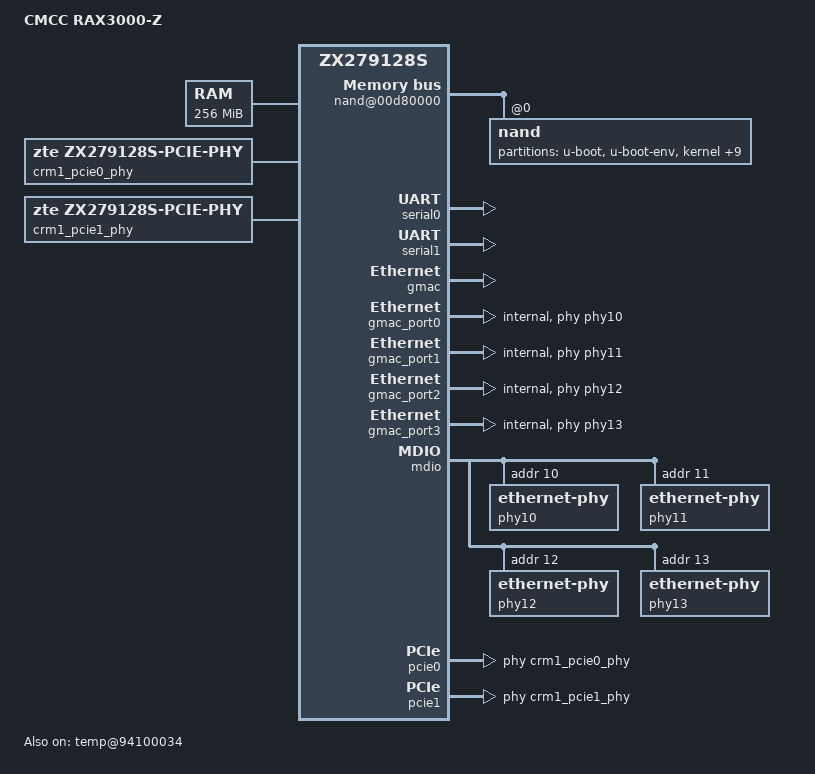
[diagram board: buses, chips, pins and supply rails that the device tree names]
// SPDX-License-Identifier: GPL-2.0-only OR BSD-2-Clause
/*
 * CMCC RAX3000-Z (普通版) on the Sanechips ZX279128R SoC.
 *
 * Derived from the sibling CMCC RAX1800-Z board file (same SoC variant, same
 * external switch/PHY stack, same flash layout) plus a full reverse-engineer
 * of THIS unit's stock firmware (UART root shell + Ghidra of the vendor
 * /kmodule/*.ko).  See re/spec/idm-datapath.md in the RAX3000Z working repo
 * for the datapath register map that corroborates the mainline driver.
 *
 * Confirmed on THIS hardware over the serial root shell (2026-11-20):
 *  - 256 MiB DRAM  (/proc/meminfo MemTotal 236864 kB; stock bootargs mem=256M)
 *  - 128 MiB parallel SLC NAND, Denali controller (stock DT
 *    "denali,denali-nand-dt"); chip is Toshiba TC58BVG0S3 / XT27G01B
 *  - 12 MTD partitions, byte-for-byte the RAX1800-Z offsets (read from
 *    each partition's sysfs offset):
 *      u-boot        0x00000000  parameter-tags 0x04c00000
 *      kernel0       0x00200000  usercfg        0x04e00000
 *      kernel1       0x00700000  others         0x05300000
 *      rootfs0       0x00c00000  wlan           0x05400000
 *      rootfs1       0x02c00000  middleware     0x05700000
 *                                versionbackup  0x05800000
 *  - stock U-Boot "CMCRV5.1.0", boots with `bootm 0x440001e0` (480-byte ZTE
 *    version header, magic 0x99999999, ahead of the uImage)
 *  - WiFi: MT7916AN (PCIe IDs 14c3:7906 main-HIF + 14c3:790a ext-HIF, ONE
 *    chip across both PCIe links), mt7915e driver + mt7916 firmware
 *
 * Differences vs the RAX1800-Z board file this is forked from:
 *  - 256 MiB DRAM (RAX1800-Z has 512 MiB)
 *  - MT7916 instead of MT7915
 *  Everything else (SoC, Denali NAND, sw@92300000 + gephy128s, PCIe, temp
 *  sensor, reboot) is identical ZX279128R silicon and is reused verbatim.
 *
 * STILL A HYPOTHESIS until the first RAM boot (same caveat as RAX1800-Z):
 *  - the four MDIO PHY addresses (10..13) and the port->label mapping.  The
 *    vendor fills uni_phy[] at runtime from the stock DT/scan, so it cannot be
 *    read statically; verify with
 *      ls /sys/bus/mdio_bus/devices ; dmesg | grep -iE 'gmac|phy'; ip link
 *    A board whose wired net is wrong is still reachable over serial + WiFi,
 *    so this does not block the flash path.
 *
 * Slot policy: OpenWrt owns slot A (kernel0 + rootfs0); slot B (kernel1 +
 * rootfs1) stays STOCK and is the rollback path.
 */

/dts-v1/;

#include "zte/zx279128s.dtsi"
#include <dt-bindings/gpio/gpio.h>

/ {
	model = "CMCC RAX3000-Z";
	compatible = "cmcc,rax3000-z", "zte,zx279128r", "zte,zx279128s";

	aliases {
		serial0 = &serial0;
		ethernet0 = &gmac;
	};

	/*
	 * Stock U-Boot passes root=/dev/mtdblock<vendor slot B>.
	 * CONFIG_CMDLINE_FORCE overrides it; ROOTDEV counts partition ROWS in the
	 * fixed-partitions table below: u-boot=0, u-boot-env=1, kernel=2,
	 * rootfs=3 -> /dev/mtdblock3.
	 */
	chosen {
		bootargs = "console=ttyAMA0,115200n8 root=/dev/mtdblock3 rootfstype=squashfs ro rootwait";
	};

	/* THIS unit: 256 MiB.  Stock DT /memory reg = <0x40000000 0x10000000>. */
	memory@40000000 {
		device_type = "memory";
		reg = <0x40000000 0x10000000>;
	};

	/*
	 * Three fixed-clocks for the mainline Denali driver (it calls
	 * devm_clk_get_enabled() for "nand"/"nand_x"/"ecc" and derives timing
	 * from their rates).  denali_setup_data_interface() rejects probe unless
	 * mult_x = clk_x_rate / clk_rate is in [4,6]; 50 MHz core / 200 MHz bus
	 * gives mult_x = 4.  Same values proven on the RAX1800-Z (same Denali
	 * controller); the NAND chip differs but the controller timing does not.
	 */
	nand_clk: nand-clk {
		compatible = "fixed-clock";
		#clock-cells = <0>;
		clock-frequency = <50000000>;
	};

	nand_x_clk: nand-x-clk {
		compatible = "fixed-clock";
		#clock-cells = <0>;
		clock-frequency = <200000000>;
	};

	nand_ecc_clk: nand-ecc-clk {
		compatible = "fixed-clock";
		#clock-cells = <0>;
		clock-frequency = <200000000>;
	};
};

/* The console UART - without this the kernel goes silent at "Starting kernel". */
&serial0 {
	status = "okay";
};

&serial1 {
	status = "okay";
};

/*
 * Parallel NAND via the mainline Denali DT driver.  Register addresses / IRQ /
 * reg-names come from the stock vendor DT (same as RAX1800-Z).  fixed-partitions
 * must live one level deeper, inside a chip node, because denali_dt_chip_init()
 * walks every DIRECT child as a NAND chip.
 */
&{/soc} {
	nand@00d80000 {
		compatible = "denali,denali-nand-dt";
		reg = <0x00d80000 0x07c00000>, <0x00d00000 0x00080000>;
		reg-names = "nand_data", "denali_reg";
		interrupts = <0 20 4>;
		clocks = <&nand_clk>, <&nand_x_clk>, <&nand_ecc_clk>;
		clock-names = "nand", "nand_x", "ecc";
		dma-mask = <0xffffffff>;
		status = "okay";

		#address-cells = <1>;
		#size-cells = <1>;

		nand@0 {
			reg = <0>;
			#address-cells = <1>;
			#size-cells = <1>;

		partitions {
			compatible = "fixed-partitions";
			#address-cells = <1>;
			#size-cells = <1>;

			/* 0x00000000-0x00180000: U-Boot code. NEVER write this. */
			u_boot: partition@0 {
				label = "u-boot";
				reg = <0x00000000 0x00180000>;
				read-only;
			};

			/* 0x00180000-0x001a0000: live U-Boot env (128 KiB, CRC-checked).
			 * Kept writable so fw_setenv can switch the boot slot. */
			u_boot_env: partition@180000 {
				label = "u-boot-env";
				reg = <0x00180000 0x00020000>;
			};

			/* ---- slot A: OpenWrt ---- */
			partition@200000 {
				label = "kernel";
				reg = <0x00200000 0x00500000>;
			};

			/* squashfs lands here; erase blocks behind it become the
			 * writable rootfs_data overlay (mainline squashfs-split). */
			partition@c00000 {
				label = "rootfs";
				reg = <0x00c00000 0x02000000>;
			};

			/* ---- slot B: untouched stock system (rollback) ---- */
			kernel1_b: partition@700000 {
				label = "kernel1-stock";
				reg = <0x00700000 0x00500000>;
				read-only;
			};

			rootfs1_b: partition@2c00000 {
				label = "rootfs1-stock";
				reg = <0x02c00000 0x02000000>;
				read-only;
			};

			/* ---- vendor data areas ---- */
			partition@4c00000 {
				label = "parameter-tags";
				reg = <0x04c00000 0x00200000>;
			};

			partition@4e00000 {
				label = "usercfg";
				reg = <0x04e00000 0x00500000>;
			};

			/* BootPara lives in the first 72 bytes of this partition */
			partition@5300000 {
				label = "others";
				reg = <0x05300000 0x00100000>;
			};

			partition@5400000 {
				label = "wlan";
				reg = <0x05400000 0x00300000>;
			};

			partition@5700000 {
				label = "middleware";
				reg = <0x05700000 0x00100000>;
			};

			partition@5800000 {
				label = "versionbackup";
				reg = <0x05800000 0x02000000>;
			};
		};
		};  /* nand@0 chip node */
	};
};

/*
 * ETHERNET.  External switch block (sw@92300000, "zte,zx279127-sw") plus four
 * gephy128s windows, driven by zx279128s-ppe.c.  Enable four ports the way the
 * sibling boards do; the fifth stays off.  Port->label and PHY addresses are
 * the RAX1800-Z hypothesis (verify on first RAM boot - see header).
 */
&gmac {
	status = "okay";
};

&gmac_port0 {
	label = "lan3";
	phy-handle = <&phy10>;
	phy-mode = "internal";
	status = "okay";
};

&gmac_port1 {
	label = "lan2";
	phy-handle = <&phy11>;
	phy-mode = "internal";
	status = "okay";
};

&gmac_port2 {
	label = "lan1";
	phy-handle = <&phy12>;
	phy-mode = "internal";
	status = "okay";
};

&gmac_port3 {
	label = "wan";
	phy-handle = <&phy13>;
	phy-mode = "internal";
	status = "okay";
};

&gmac_port4 {
	status = "disabled";
};

&mdio {
	status = "okay";

	phy10: ethernet-phy@a {
		reg = <10>;
	};

	phy11: ethernet-phy@b {
		reg = <11>;
	};

	phy12: ethernet-phy@c {
		reg = <12>;
	};

	phy13: ethernet-phy@d {
		reg = <13>;
	};
};

/*
 * WiFi: MT7916AN on PCIe (stock /kmodule/mt7916_ap.ko confirms the chip; the
 * same 14c3:7906 + 14c3:790a pair the E2631 uses = one chip, main HIF on one
 * PCIe link + ext HIF on the other).  The vendor wlan partition may start all
 * 0xFF, so mt76 falls back to OTP/placeholder calibration - bring this up with
 * the serial console attached before trusting it.
 */
/ {
	soc {
		/*
		 * SoC on-die temperature sensor (crm2+0x34, recovered from the
		 * OEM 4.1.25 temp_zx.c).  kmod-rax1800z-thermal binds here and
		 * registers a hwmon temp1_input.  Same die as RAX1800-Z.
		 */
		temp@94100034 {
			compatible = "zxic,tempsensor";
			reg = <0x94100034 0x0000000c>;
			status = "okay";
		};

		/*
		 * Second handle for the 0x94000000 block: topcrm is claimed by
		 * CLK_OF_DECLARE / OF_POPULATED, so of_platform_bus_create will
		 * not descend to its children (pcie phys, syscon-reboot).  A
		 * syscon+simple-mfd duplicate lets the bus walk populate them.
		 */
		crm1: syscon@94000000 {
			compatible = "syscon", "simple-mfd";
			reg = <0x94000000 0x1000>;
			#address-cells = <1>;
			#size-cells = <0>;

			crm1_pcie0_phy: phy@0 {
				compatible = "zte,zx279128s-pcie-phy";
				reg = <0>;
				#phy-cells = <0>;
			};

			crm1_pcie1_phy: phy@1 {
				compatible = "zte,zx279128s-pcie-phy";
				reg = <1>;
				#phy-cells = <0>;
			};

			/* SoC restart (topcrm offset 0x44, mask/value 0x1). */
			reboot {
				compatible = "syscon-reboot";
				offset = <0x44>;
				mask = <0x1>;
				value = <0x1>;
			};
		};
	};
};

&pcie0 {
	phys = <&crm1_pcie0_phy>;
	phy-names = "pcie";
	status = "okay";
};

&pcie1 {
	phys = <&crm1_pcie1_phy>;
	phy-names = "pcie";
	status = "okay";
};

/* Stock kernel ships "# CONFIG_USB is not set"; keep USB off for the same
 * hang-safety reason the sibling ports did. */
&usb {
	status = "disabled";
};

/* Serialize PL310 maintenance with protected MMIO, same as the siblings. */
&l2cc {
	zte,l2c-io-read-lock;
};
